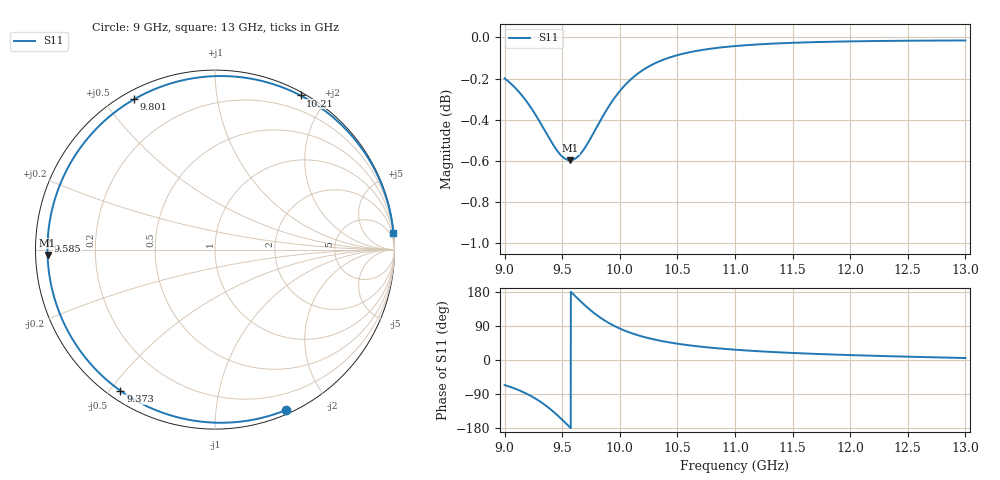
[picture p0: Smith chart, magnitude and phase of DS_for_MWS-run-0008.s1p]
! TOUCHSTONE file generated by CST DESIGN STUDIO
! Date and time: Tue Feb  4 12:55:05 2025
! Project name: C:\Work\MatlabApps\UnitCellOptimizationMatlab\CST\unitcell.cst
! Tree item: Tasks\Sweep1\SPara1\S-Parameters
! Header version: 2024
! Port assignment regex: !\s*Touchstone port\s*([0-9]+)\s*=\s*(CST MWS port|CST DES external port|CST DES block port)\s*(.+)\s* \(\"(.*)\"\)(\s*mode\s*([0-9]+))?.*
! Touchstone port assignment:
! Touchstone port 1 = CST DES external port 1 ("")
# GHz S MA R 50
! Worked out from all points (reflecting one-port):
!   4001 points, 9 GHz to 13 GHz, reference 50 ohm
!   lowest |S11| = -0.6 dB at 9.569 GHz (marker M1), VSWR 29.11, Z = 1.72 - j0.786 ohm
!   phase of S11 starts at -66 deg and turns -289 deg over the sweep
!   S11 on the Smith chart (normalised r, x): 9 GHz: 0.04, -1.54; 9.373 GHz: 0.04, -0.53; 9.585 GHz: 0.03, +0.03; 9.801 GHz: 0.03, +0.60; 10.21 GHz: 0.03, +1.70; 13 GHz: 0, +22
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9  0.9774 -66.1
9.043  0.9751 -70.4
9.11  0.971 -77.9
9.224  0.9619 -94.2
9.303  0.9541 -108.6
9.373  0.9466 -123.8
9.435  0.9404 -139.4
9.5  0.9355 -157.6
9.535  0.9341 -168.0
9.569  0.9336 -178.2
9.585  0.9337 177.0
9.64  0.9357 160.5
9.701  0.9405 143.2
9.751  0.9456 130.1
9.801  0.9511 118.2
9.844  0.9559 109.1
9.891  0.9608 100.1
10  0.9705 83.0
10.099  0.977 71.1
10.207  0.9822 61.0
10.342  0.9867 51.4
10.5  0.9901 43.0
10.721  0.9931 34.6
11  0.9952 27.2
11.5  0.997 18.6
12  0.9978 12.9
12.5  0.9982 8.7
13  0.9983 5.2
